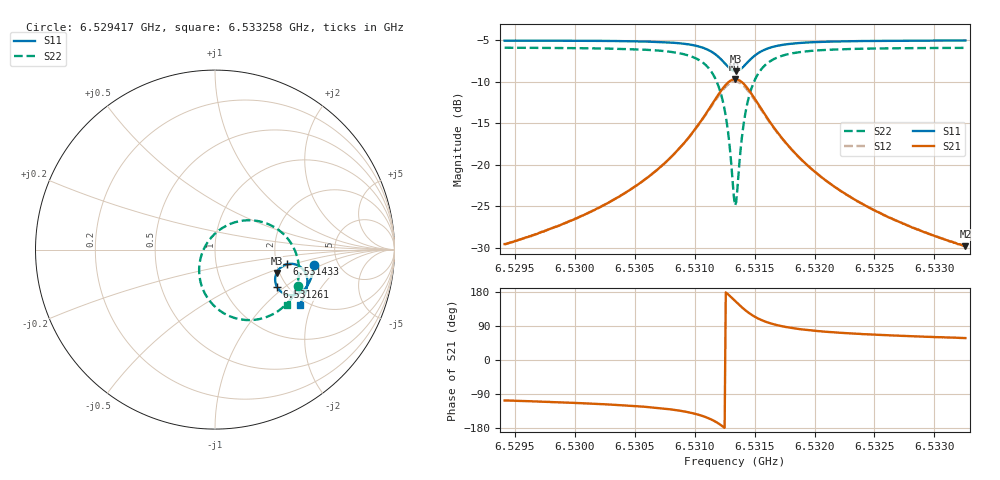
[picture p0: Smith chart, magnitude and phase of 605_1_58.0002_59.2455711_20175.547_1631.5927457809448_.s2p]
#  HZ  S  RI  R  50.00
! Rohde & Schwarz Vector Network Analyzer
! Rohde-Schwarz,ZNB20-2Port,1311601062101988,3.16
! Created: UTC 3/21/2024, 1:17:23 AM
! freq[Hz]  re:S11  im:S11  re:S21  im:S21  re:S12  im:S12  re:S22  im:S22
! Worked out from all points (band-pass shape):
!   401 points, 6.529417 GHz to 6.533258 GHz, reference 50 ohm
!   highest |S21| = -9.68 dB at 6.531337 GHz (marker M1); lowest = -29.8 dB at 6.533258 GHz (marker M2)
!   |S21| within 3 dB of the highest: 6.531147 GHz to 6.531531 GHz (383.5 kHz wide, 0.00587 % of centre)
!   lowest |S11| = -8.7 dB at 6.531347 GHz (marker M3), VSWR 2.16, Z = 96.4 - j29.1 ohm
!   |S11| at or under -10 dB: nowhere
!   |S22| runs from -24.9 to -5.9 dB; largest |S21 - S12| = 0.013
!   S11 on the Smith chart (normalised r, x): 6.529417 GHz: 3.31, -0.85; 6.531261 GHz: 1.78, -0.88; 6.531433 GHz: 2.28, -0.45; 6.533258 GHz: 1.83, -1.64
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6.5294172e9  0.5536 -0.0881  -0.0097 -0.0319  -0.0103 -0.0316  0.4649 -0.2046
6.5300604e9  0.5409 -0.1422  -0.0202 -0.0451  -0.0212 -0.0446  0.4301 -0.2642
6.5304157e9  0.5283 -0.1758  -0.0335 -0.0585  -0.035 -0.0576  0.3948 -0.3062
6.5307037e9  0.5097 -0.2079  -0.0574 -0.0765  -0.0595 -0.0747  0.3412 -0.3493
6.5309341e9  0.4785 -0.238  -0.1033 -0.0964  -0.1062 -0.0924  0.249 -0.3866
6.5310974e9  0.4296 -0.2544  -0.1793 -0.0987  -0.1812 -0.0907  0.1109 -0.3816
6.5311934e9  0.3807 -0.2434  -0.2542 -0.0624  -0.2519 -0.0516  -0.0117 -0.3066
6.5312606e9  0.3458 -0.2081  -0.3037 0.00849  -0.2957 0.0186  -0.081 -0.1788
6.5312894e9  0.337 -0.1843  -0.3134 0.0525  -0.3029 0.0606  -0.0884 -0.1047
6.5313182e9  0.3355 -0.1573  -0.3105 0.1008  -0.2982 0.1059  -0.0742 -0.0264
6.5313374e9  0.3394 -0.1392  -0.3003 0.1326  -0.2879 0.1355  -0.052 0.0234
6.531347e9  0.3428 -0.1304  -0.2929 0.1476  -0.2806 0.1494  -0.0372 0.0464
6.5313566e9  0.347 -0.122  -0.2841 0.1618  -0.272 0.1626  -0.0203 0.0679
6.531395e9  0.3711 -0.0955  -0.2381 0.2067  -0.2282 0.204  0.0626 0.1327
6.5314334e9  0.4007 -0.0817  -0.185 0.2295  -0.1778 0.2254  0.1538 0.1613
6.5315006e9  0.4472 -0.0823  -0.1041 0.2288  -0.1006 0.2251  0.2886 0.1453
6.5315966e9  0.4872 -0.1066  -0.036 0.1929  -0.0344 0.1909  0.398 0.0697
6.5317406e9  0.5098 -0.1447  0.00413 0.1414  0.00515 0.1406  0.4556 -0.0333
6.5319807e9  0.5147 -0.1892  0.0199 0.0918  0.021 0.0914  0.4676 -0.1355
6.5322879e9  0.5076 -0.2272  0.0217 0.061  0.0226 0.0608  0.4547 -0.2058
6.5326239e9  0.4961 -0.2587  0.0202 0.0437  0.0211 0.0434  0.4359 -0.2529
6.5332576e9  0.4709 -0.307  0.0172 0.0274  0.0179 0.0272  0.4007 -0.3109
